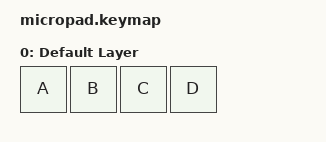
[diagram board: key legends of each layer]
/*
 * Copyright (c) 2020 The ZMK Contributors
 *
 * SPDX-License-Identifier: MIT
 */

#include <behaviors.dtsi>
#include <dt-bindings/zmk/keys.h>
#include <dt-bindings/zmk/bt.h>

/ {
        keymap {
                compatible = "zmk,keymap";

                default_layer {
                        display-name = "Default Layer";
                        bindings = <
                            &kp A  &kp B &kp C &kp D
                        >;
                };

                extra1 {
                    status = "reserved";
                };

                extra2 {
                    status = "reserved";
                };

                extra3 {
                    status = "reserved";
                };
        };
};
